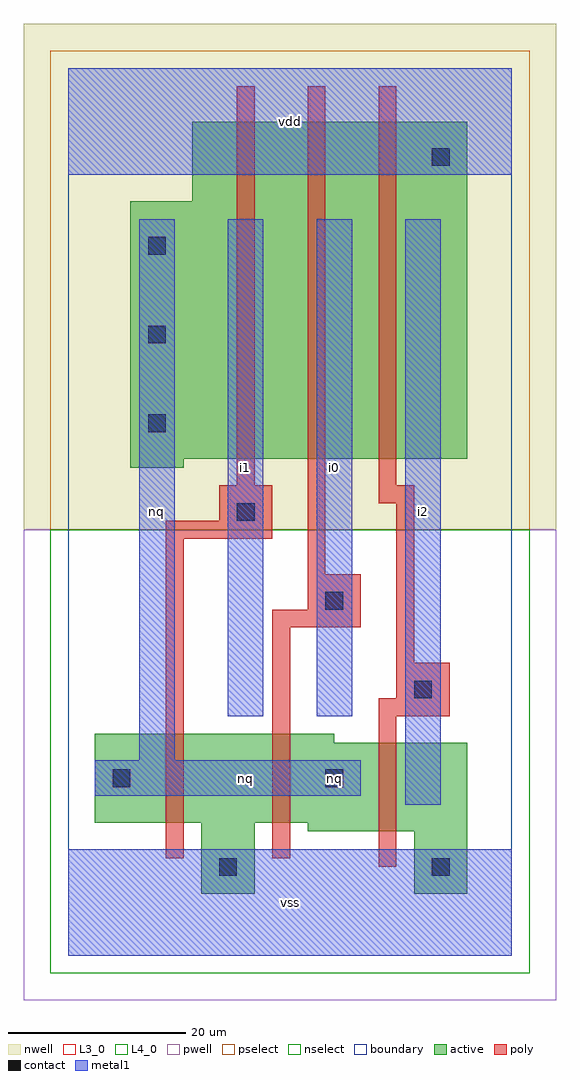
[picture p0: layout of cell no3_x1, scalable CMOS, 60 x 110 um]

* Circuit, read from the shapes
.subckt no3_x1 i0 i1 i2 nq vdd vss
M1 vss i1 nq VSUBS nfet w=10u l=2u
M2 nq i0 vss VSUBS nfet w=10u l=2u
M3 vss i2 nq VSUBS nfet w=10u l=2u
M4 n1 i1 nq n2 pfet w=38u l=2u
M5 n3 i0 n1 n2 pfet w=38u l=2u
M6 vdd i2 n3 n2 pfet w=38u l=2u
.ends

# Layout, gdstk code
import gdstk
lib = gdstk.Library(unit=1e-6, precision=1e-09)
def R(c, l, rs):  # rectangles x0, y0, x1, y1
    for r in rs: c.add(gdstk.rectangle(r[:2], r[2:], *l))
def A(c, l, x, y, w, h, nx, ny, dx, dy):  # array of equal rectangles
    R(c, l, [(x+i*dx, y+j*dy, x+i*dx+w, y+j*dy+h) for i in range(nx) for j in range(ny)])
L3_0 = (3, 0)
L4_0 = (4, 0)
contact = (25, 0)
pwell = (41, 0)
nwell = (42, 0)
active = (43, 0)
pselect = (44, 0)
nselect = (45, 0)
poly = (46, 0)
metal1 = (49, 0)
boundary = (63, 0)

no3_x1 = lib.new_cell('no3_x1')
R(no3_x1, L3_0, [(15,7,21,15), (39,7,45,14), (27,14,45,15), (3,15,45,24), (3,24,30,25)])
R(no3_x1, L4_0, [(7,55,13,56), (7,56,45,85), (14,85,45,94)])
A(no3_x1, contact, 9, 59, 2, 2, 1, 3, 0, 10)
R(no3_x1, contact, [(17,9,19,11), (41,9,43,11), (5,19,7,21), (29,19,31,21), (39,29,41,31), (29,39,31,41), (19,49,21,51), (41,89,43,91)])
R(no3_x1, pwell, [(-5,-5,55,48)])
R(no3_x1, nwell, [(-5,48,55,105)])
R(no3_x1, active, [(15,7,21,15), (39,7,45,14), (27,14,45,15), (3,15,45,24), (3,24,30,25), (7,55,13,56), (7,56,45,85), (14,85,45,94)])
R(no3_x1, pselect, [(-2,48,52,102)])
R(no3_x1, nselect, [(-2,-2,52,48)])
R(no3_x1, poly, [(35,10,37,27), (11,11,13,47), (23,11,25,37), (35,27,43,29), (37,29,43,33), (37,33,39,51), (23,37,33,39), (27,39,33,43), (27,43,29,98), (11,47,23,49), (17,49,23,53), (35,51,39,53), (19,53,21,98), (35,53,37,98)])
R(no3_x1, metal1, [(0,0,50,12), (38,17,42,83), (3,18,33,22), (8,22,12,83), (18,27,22,83), (28,27,32,83), (0,88,50,100)])
R(no3_x1, boundary, [(0,0,50,100)])
no3_x1.add(gdstk.Label('nq', (20,20), layer=49, texttype=0))
no3_x1.add(gdstk.Label('nq', (10,50), layer=49, texttype=0))
no3_x1.add(gdstk.Label('i1', (20,55), layer=49, texttype=0))
no3_x1.add(gdstk.Label('vss', (25,6), layer=49, texttype=0))
no3_x1.add(gdstk.Label('nq', (30,20), layer=49, texttype=0))
no3_x1.add(gdstk.Label('i0', (30,55), layer=49, texttype=0))
no3_x1.add(gdstk.Label('vdd', (25,94), layer=49, texttype=0))
no3_x1.add(gdstk.Label('i2', (40,50), layer=49, texttype=0))

lib.write_gds('no3_x1.gds')
